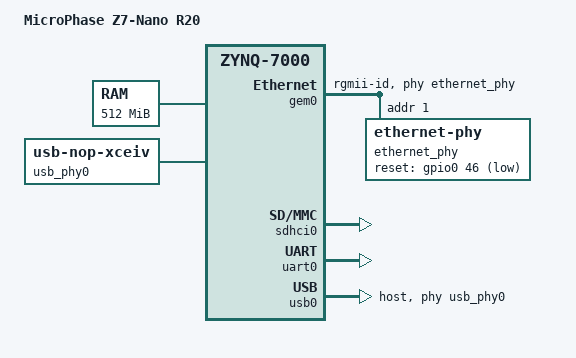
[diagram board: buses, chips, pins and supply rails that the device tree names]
// SPDX-License-Identifier: GPL-2.0+
/*
 * MicroPhase Z7-Nano R20 (XC7Z020) — U-Boot device tree
 * Based on zynq-zed.dts; console on uart0, 512MB DDR,
 * RTL8211F PHY at MDIO addr 1 with reset on MIO46.
 */
/dts-v1/;
#include "zynq-7000.dtsi"
#include <dt-bindings/gpio/gpio.h>

/ {
	model = "MicroPhase Z7-Nano R20";
	compatible = "microphase,zynq-z7-nano", "xlnx,zynq-7000";

	aliases {
		ethernet0 = &gem0;
		serial0 = &uart0;
		mmc0 = &sdhci0;
	};

	memory@0 {
		device_type = "memory";
		reg = <0x0 0x20000000>;
	};

	chosen {
		bootargs = "";
		stdout-path = "serial0:115200n8";
	};

	usb_phy0: phy0 {
		compatible = "usb-nop-xceiv";
		#phy-cells = <0>;
	};
};

&clkc {
	ps-clk-frequency = <33333333>;
};

&gem0 {
	status = "okay";
	phy-mode = "rgmii-id";
	phy-handle = <&ethernet_phy>;

	ethernet_phy: ethernet-phy@1 {
		reg = <1>;
		reset-gpios = <&gpio0 46 GPIO_ACTIVE_LOW>;
	};
};

&sdhci0 {
	bootph-all;
	status = "okay";
};

&uart0 {
	bootph-all;
	status = "okay";
};

&usb0 {
	status = "okay";
	dr_mode = "host";
	usb-phy = <&usb_phy0>;
};
